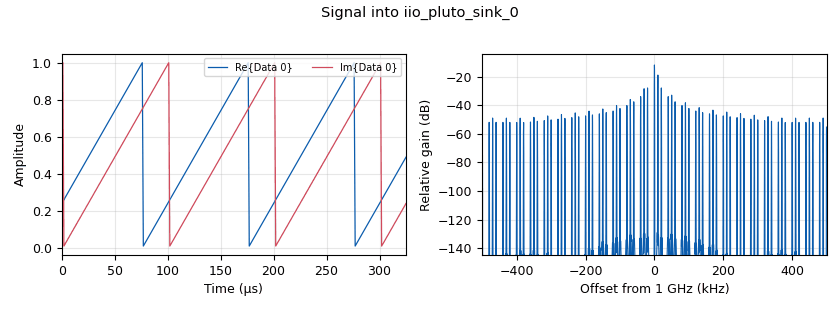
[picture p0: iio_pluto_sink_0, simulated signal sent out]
options:
  parameters:
    generate_options: qt_gui
    id: adalm_loopback_sawtooth
    output_language: python
    title: adalm_loopback_sawtooth
  states: {}

blocks:
- name: URI
  id: variable
  parameters:
    value: '"192.168.2.1"'
  states: {}
- name: samp_rate
  id: variable
  parameters:
    value: '1000000'
  states: {}
- name: analog_sig_source_x_0
  id: analog_sig_source_x
  parameters:
    amp: '1'
    freq: '10000'
    offset: '0'
    phase: '0'
    samp_rate: samp_rate
    type: complex
    waveform: analog.GR_SAW_WAVE
  states: {}
- name: iio_pluto_sink_0
  id: iio_pluto_sink
  parameters:
    attenuation1: '10.0'
    bandwidth: samp_rate
    buffer_size: '32768'
    cyclic: 'True'
    filter_source: '''Auto'''
    frequency: '1000000000'
    samplerate: samp_rate
    type: fc32
    uri: URI
  states: {}
- name: iio_pluto_source_0
  id: iio_pluto_source
  parameters:
    bandwidth: samp_rate
    bbdc: 'False'
    buffer_size: '32768'
    filter_source: '''Auto'''
    frequency: '1000000000'
    gain1: '''manual'''
    manual_gain1: '10'
    quadrature: 'True'
    rfdc: 'False'
    samplerate: samp_rate
    type: fc32
    uri: 192.168.2.2
  states: {state: disabled}
- name: iio_pluto_source_1
  id: iio_pluto_source
  parameters:
    bandwidth: '20000000'
    bbdc: 'True'
    buffer_size: '32768'
    filter_source: '''Auto'''
    frequency: '2400000000'
    gain1: '''slow_attack'''
    quadrature: 'True'
    rfdc: 'True'
    samplerate: samp_rate
    type: fc32
    uri: URI
  states: {}
- name: qtgui_sink_x_0
  id: qtgui_sink_x
  parameters:
    bw: samp_rate
    fc: '0'
    fftsize: '2048'
    name: '"Receiver"'
    type: complex
    wintype: window.WIN_HAMMING
  states: {state: disabled}
- name: qtgui_sink_x_1
  id: qtgui_sink_x
  parameters:
    bw: samp_rate
    fc: '0'
    fftsize: '1024'
    name: '"Transmitter"'
    type: complex
  states: {}

connections:
- [analog_sig_source_x_0, '0', iio_pluto_sink_0, '0']
- [iio_pluto_source_0, '0', qtgui_sink_x_0, '0']
- [iio_pluto_source_1, '0', qtgui_sink_x_1, '0']

metadata:
  file_format: 1
